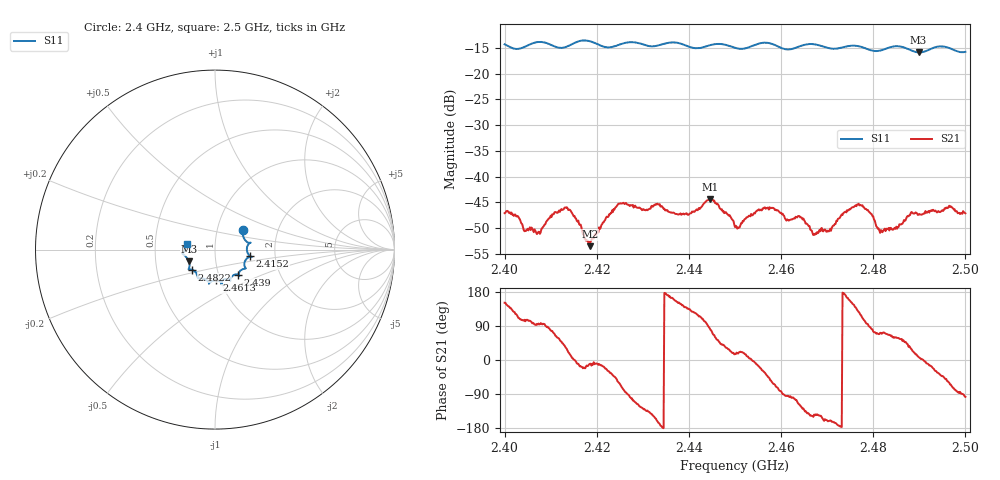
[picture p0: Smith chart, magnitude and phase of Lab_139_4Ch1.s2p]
# Hz S RI R 50
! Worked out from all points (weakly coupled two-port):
!   601 points, 2.4 GHz to 2.5 GHz, reference 50 ohm
!   highest |S21| = -44.37 dB at 2.4445 GHz (marker M1); lowest = -53.5 dB at 2.4185 GHz (marker M2)
!   lowest |S11| = -15.9 dB at 2.4898 GHz (marker M3), VSWR 1.38, Z = 37 - j5.03 ohm
!   |S11| at or under -10 dB: start of sweep to end of sweep
!   S12 and S22 are empty: the file has one direction only
!   S11 on the Smith chart (normalised r, x): 2.4 GHz: 1.33, +0.31; 2.4152 GHz: 1.48, -0.11; 2.439 GHz: 1.24, -0.36; 2.4613 GHz: 0.96, -0.34; 2.4822 GHz: 0.76, -0.17; 2.5 GHz: 0.72, +0.05
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2.4e9  0.1563 0.1111  -0.00388 0.00214  0 0  0 0
2.407333e9  0.1983 0.0382  -0.000313 0.0029  0 0  0 0
2.412833e9  0.1783 -0.00759  0.00369 0.00313  0 0  0 0
2.415167e9  0.1943 -0.0361  0.00416 8.29e-06  0 0  0 0
2.416667e9  0.2039 -0.0419  0.00307 -0.00099  0 0  0 0
2.4185e9  0.2017 -0.0393  0.00209 -0.000375  0 0  0 0
2.424833e9  0.1653 -0.0941  0.00266 -0.00477  0 0  0 0
2.433333e9  0.1329 -0.1318  -0.00521 -0.00137  0 0  0 0
2.439e9  0.1285 -0.1392  -0.00326 0.00281  0 0  0 0
2.4445e9  0.0848 -0.1675  0.000639 0.00601  0 0  0 0
2.45e9  0.069 -0.1637  0.00313 0.00087  0 0  0 0
2.456667e9  0.0393 -0.195  0.00391 -0.00292  0 0  0 0
2.461333e9  0.00771 -0.171  -0.000329 -0.00384  0 0  0 0
2.464333e9  -0.0294 -0.1831  -0.00218 -0.00341  0 0  0 0
2.466667e9  -0.0336 -0.1903  -0.00253 -0.0016  0 0  0 0
2.470333e9  -0.0462 -0.1702  -0.00278 -0.000964  0 0  0 0
2.477e9  -0.0953 -0.1566  -0.00298 0.00434  0 0  0 0
2.482167e9  -0.1281 -0.1119  0.000901 0.00286  0 0  0 0
2.483333e9  -0.1395 -0.1102  0.00129 0.00291  0 0  0 0
2.489833e9  -0.1456 -0.0662  0.00423 0.000611  0 0  0 0
2.496667e9  -0.1749 -0.0146  0.00219 -0.00459  0 0  0 0
2.5e9  -0.1587 0.0335  -0.000549 -0.00438  0 0  0 0
